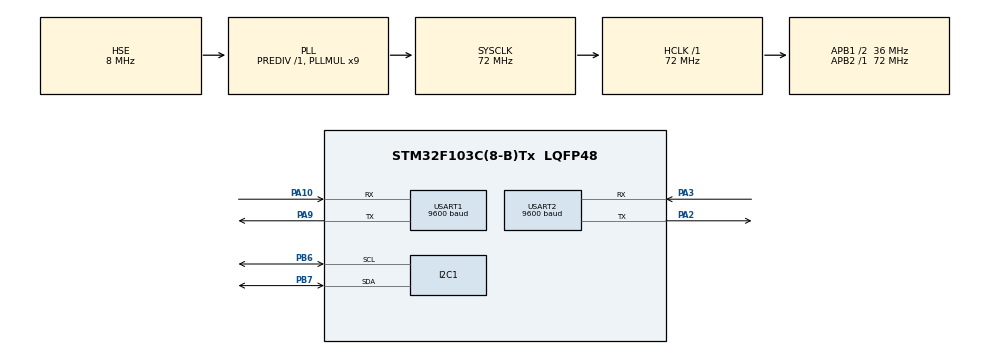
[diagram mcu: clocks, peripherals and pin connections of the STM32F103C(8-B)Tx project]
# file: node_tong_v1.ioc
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Mcu.Family=STM32F1
Mcu.Name=STM32F103C(8-B)Tx
Mcu.Package=LQFP48
NVIC.PriorityGroup=NVIC_PRIORITYGROUP_4
NVIC.USART1_IRQn=true\:0\:0\:false\:false\:true\:true\:true\:true
NVIC.USART2_IRQn=true\:0\:0\:false\:false\:true\:true\:true\:true
PA10.Mode=Asynchronous
PA10.Signal=USART1_RX
PA13.Mode=Serial_Wire
PA13.Signal=SYS_JTMS-SWDIO
PA14.Mode=Serial_Wire
PA14.Signal=SYS_JTCK-SWCLK
PA2.Mode=Asynchronous
PA2.Signal=USART2_TX
PA3.Mode=Asynchronous
PA3.Signal=USART2_RX
PA9.Mode=Asynchronous
PA9.Signal=USART1_TX
PB6.Mode=I2C
PB6.Signal=I2C1_SCL
PB7.Mode=I2C
PB7.Signal=I2C1_SDA
PD0-OSC_IN.Mode=HSE-External-Oscillator
PD0-OSC_IN.Signal=RCC_OSC_IN
PD1-OSC_OUT.Mode=HSE-External-Oscillator
PD1-OSC_OUT.Signal=RCC_OSC_OUT
ProjectManager.HeapSize=0x200
ProjectManager.StackSize=0x400
ProjectManager.TargetToolchain=STM32CubeIDE
RCC.AHBFreq_Value=72000000
RCC.APB1CLKDivider=RCC_HCLK_DIV2
RCC.APB1Freq_Value=36000000
RCC.APB1TimFreq_Value=72000000
RCC.APB2Freq_Value=72000000
RCC.APB2TimFreq_Value=72000000
RCC.HCLKFreq_Value=72000000
RCC.PLLMUL=RCC_PLL_MUL9
RCC.PLLSourceVirtual=RCC_PLLSOURCE_HSE
RCC.SYSCLKFreq_VALUE=72000000
RCC.SYSCLKSource=RCC_SYSCLKSOURCE_PLLCLK
RCC.USBFreq_Value=72000000
USART1.BaudRate=9600
USART1.VirtualMode=VM_ASYNC
USART2.BaudRate=9600
USART2.VirtualMode=VM_ASYNC
VP_TIM1_VS_ClockSourceINT.Mode=Internal
board=custom

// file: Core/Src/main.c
/* USER CODE BEGIN Header */
/**
  ******************************************************************************
  * @file           : main.c
  * @brief          : Main program body
  ******************************************************************************
  * @attention
  *
  * Copyright (c) 2024 STMicroelectronics.
  * All rights reserved.
  *
  * This software is licensed under terms that can be found in the LICENSE file
  * in the root directory of this software component.
  * If no LICENSE file comes with this software, it is provided AS-IS.
  *
  ******************************************************************************
  */
/* USER CODE END Header */
#include "main.h"

/* USER CODE BEGIN Includes */
#include "stdio.h"
#include "string.h"
#include <stdlib.h>
#include "i2c-lcd.h"
/* USER CODE END Includes */

/* USER CODE BEGIN PD */
#define NumNode 2
/* USER CODE END PD */

I2C_HandleTypeDef hi2c1;

TIM_HandleTypeDef htim1;

UART_HandleTypeDef huart1;
UART_HandleTypeDef huart2;

/* USER CODE BEGIN PV */
uint8_t rxBuffer_1[5];
uint8_t txBuffer_1[5];
uint8_t rxBuffer_2[5];
uint8_t txBuffer_2[5];
uint8_t node_id[NumNode] = {0x01,0x02};
uint8_t nodeisCar[NumNode] = {0,0};
uint8_t numSpace_cur =30;
uint8_t numSpace_MAX =30;
uint8_t numSpace_pre =30;
char buffer[16];
uint8_t myID =0xF0; // node tong 2 0xF1
/* USER CODE END PV */

void SystemClock_Config(void);
static void MX_GPIO_Init(void);
static void MX_USART1_UART_Init(void);
static void MX_I2C1_Init(void);
static void MX_TIM1_Init(void);
static void MX_USART2_UART_Init(void);

/* USER CODE BEGIN 0 */
// RS485

// Gửi lệnh tới Slave với địa chỉ ID
void RS485_SendCommand(uint8_t slaveID)
{
    txBuffer_1[0] = slaveID;  // �?ịa chỉ Slave
    txBuffer_1[1] = '\n';     // Ký tự kết thúc
    HAL_UART_Transmit(&huart1, txBuffer_1, 5, HAL_MAX_DELAY);
}

void HAL_UART_RxCpltCallback(UART_HandleTypeDef *huart)
{
    if (huart->Instance == USART1)
    {
        if (rxBuffer_1[0] == 0x01 || rxBuffer_1[0] == 0x02)
        {
            int index = rxBuffer_1[0] - 1; // Mapping slave ID to array index
            if (rxBuffer_1[1] == 1)
                nodeisCar[index] = 1;
            else
                nodeisCar[index] = 0;
        }
        HAL_UART_Receive_IT(&huart1, rxBuffer_1, 5); // Continue receiving
    }
    else if (huart->Instance == USART2)
    {
    	if (rxBuffer_2[0] == myID)
    	{ // Kiểm tra địa chỉ
			txBuffer_2[0] = myID;
			txBuffer_2[1] = numSpace_cur;

			HAL_UART_Transmit(&huart2, txBuffer_2, 5, HAL_MAX_DELAY);
    	}
        HAL_UART_Receive_IT(&huart2, rxBuffer_2, 5); // Continue receiving
    }
}
/* USER CODE END 0 */

int main(void)
{

  /* MCU Configuration--------------------------------------------------------*/

  /* Reset of all peripherals, Initializes the Flash interface and the Systick. */
  HAL_Init();

  /* Configure the system clock */
  SystemClock_Config();

  /* Initialize all configured peripherals */
  MX_GPIO_Init();
  MX_USART1_UART_Init();
  MX_I2C1_Init();
  MX_TIM1_Init();
  MX_USART2_UART_Init();
  /* USER CODE BEGIN 2 */
  lcd_init();
  lcd_clear();
  lcd_put_cur(0,0);
  lcd_send_string("So cho trong:");
  lcd_put_cur(1,0);
  lcd_send_string("30");
  HAL_UART_Receive_IT(&huart1, rxBuffer_1,5);
  HAL_UART_Receive_IT(&huart2, rxBuffer_2,5);
  /* USER CODE END 2 */

  /* Infinite loop */
  /* USER CODE BEGIN WHILE */
  while (1)
  {
	  for(int i=0; i<NumNode; i++)
		  {
			  RS485_SendCommand(node_id[i]);
			  HAL_Delay(3000);
		  }
		  int numCars = 0;
		  for(int i = 0; i < NumNode; i++)
		  {
			  numCars += nodeisCar[i]; // Tổng số xe ở các node
		  }
		  numSpace_cur = numSpace_MAX - numCars; // Cập nhật số chỗ trống
		  if (numSpace_cur != numSpace_pre)
		  {
			  lcd_put_cur(1,0);
			  sprintf(buffer,"%d",(int)numSpace_cur);
			  lcd_send_string(buffer);
			  numSpace_pre = numSpace_cur;
		  }

    /* USER CODE END WHILE */

  }
}

void SystemClock_Config(void)
{
  RCC_OscInitTypeDef RCC_OscInitStruct = {0};
  RCC_ClkInitTypeDef RCC_ClkInitStruct = {0};

  /** Initializes the RCC Oscillators according to the specified parameters
  * in the RCC_OscInitTypeDef structure.
  */
  RCC_OscInitStruct.OscillatorType = RCC_OSCILLATORTYPE_HSE;
  RCC_OscInitStruct.HSEState = RCC_HSE_ON;
  RCC_OscInitStruct.HSEPredivValue = RCC_HSE_PREDIV_DIV1;
  RCC_OscInitStruct.HSIState = RCC_HSI_ON;
  RCC_OscInitStruct.PLL.PLLState = RCC_PLL_ON;
  RCC_OscInitStruct.PLL.PLLSource = RCC_PLLSOURCE_HSE;
  RCC_OscInitStruct.PLL.PLLMUL = RCC_PLL_MUL9;
  if (HAL_RCC_OscConfig(&RCC_OscInitStruct) != HAL_OK)
  {
    Error_Handler();
  }

  /** Initializes the CPU, AHB and APB buses clocks
  */
  RCC_ClkInitStruct.ClockType = RCC_CLOCKTYPE_HCLK|RCC_CLOCKTYPE_SYSCLK
                              |RCC_CLOCKTYPE_PCLK1|RCC_CLOCKTYPE_PCLK2;
  RCC_ClkInitStruct.SYSCLKSource = RCC_SYSCLKSOURCE_PLLCLK;
  RCC_ClkInitStruct.AHBCLKDivider = RCC_SYSCLK_DIV1;
  RCC_ClkInitStruct.APB1CLKDivider = RCC_HCLK_DIV2;
  RCC_ClkInitStruct.APB2CLKDivider = RCC_HCLK_DIV1;

  if (HAL_RCC_ClockConfig(&RCC_ClkInitStruct, FLASH_LATENCY_2) != HAL_OK)
  {
    Error_Handler();
  }
}

static void MX_I2C1_Init(void)
{

  hi2c1.Instance = I2C1;
  hi2c1.Init.ClockSpeed = 100000;
  hi2c1.Init.DutyCycle = I2C_DUTYCYCLE_2;
  hi2c1.Init.OwnAddress1 = 0;
  hi2c1.Init.AddressingMode = I2C_ADDRESSINGMODE_7BIT;
  hi2c1.Init.DualAddressMode = I2C_DUALADDRESS_DISABLE;
  hi2c1.Init.OwnAddress2 = 0;
  hi2c1.Init.GeneralCallMode = I2C_GENERALCALL_DISABLE;
  hi2c1.Init.NoStretchMode = I2C_NOSTRETCH_DISABLE;
  if (HAL_I2C_Init(&hi2c1) != HAL_OK)
  {
    Error_Handler();
  }

}

static void MX_TIM1_Init(void)
{

  TIM_ClockConfigTypeDef sClockSourceConfig = {0};
  TIM_MasterConfigTypeDef sMasterConfig = {0};

  htim1.Instance = TIM1;
  htim1.Init.Prescaler = 0;
  htim1.Init.CounterMode = TIM_COUNTERMODE_UP;
  htim1.Init.Period = 65535;
  htim1.Init.ClockDivision = TIM_CLOCKDIVISION_DIV1;
  htim1.Init.RepetitionCounter = 0;
  htim1.Init.AutoReloadPreload = TIM_AUTORELOAD_PRELOAD_DISABLE;
  if (HAL_TIM_Base_Init(&htim1) != HAL_OK)
  {
    Error_Handler();
  }
  sClockSourceConfig.ClockSource = TIM_CLOCKSOURCE_INTERNAL;
  if (HAL_TIM_ConfigClockSource(&htim1, &sClockSourceConfig) != HAL_OK)
  {
    Error_Handler();
  }
  sMasterConfig.MasterOutputTrigger = TIM_TRGO_RESET;
  sMasterConfig.MasterSlaveMode = TIM_MASTERSLAVEMODE_DISABLE;
  if (HAL_TIMEx_MasterConfigSynchronization(&htim1, &sMasterConfig) != HAL_OK)
  {
    Error_Handler();
  }

}

static void MX_USART1_UART_Init(void)
{

  huart1.Instance = USART1;
  huart1.Init.BaudRate = 9600;
  huart1.Init.WordLength = UART_WORDLENGTH_8B;
  huart1.Init.StopBits = UART_STOPBITS_1;
  huart1.Init.Parity = UART_PARITY_NONE;
  huart1.Init.Mode = UART_MODE_TX_RX;
  huart1.Init.HwFlowCtl = UART_HWCONTROL_NONE;
  huart1.Init.OverSampling = UART_OVERSAMPLING_16;
  if (HAL_UART_Init(&huart1) != HAL_OK)
  {
    Error_Handler();
  }

}

static void MX_USART2_UART_Init(void)
{

  huart2.Instance = USART2;
  huart2.Init.BaudRate = 9600;
  huart2.Init.WordLength = UART_WORDLENGTH_8B;
  huart2.Init.StopBits = UART_STOPBITS_1;
  huart2.Init.Parity = UART_PARITY_NONE;
  huart2.Init.Mode = UART_MODE_TX_RX;
  huart2.Init.HwFlowCtl = UART_HWCONTROL_NONE;
  huart2.Init.OverSampling = UART_OVERSAMPLING_16;
  if (HAL_UART_Init(&huart2) != HAL_OK)
  {
    Error_Handler();
  }

}

static void MX_GPIO_Init(void)
{

  /* GPIO Ports Clock Enable */
  __HAL_RCC_GPIOD_CLK_ENABLE();
  __HAL_RCC_GPIOA_CLK_ENABLE();
  __HAL_RCC_GPIOB_CLK_ENABLE();

}

void Error_Handler(void)
{
  __disable_irq();
  while (1)
  {
  }
}
